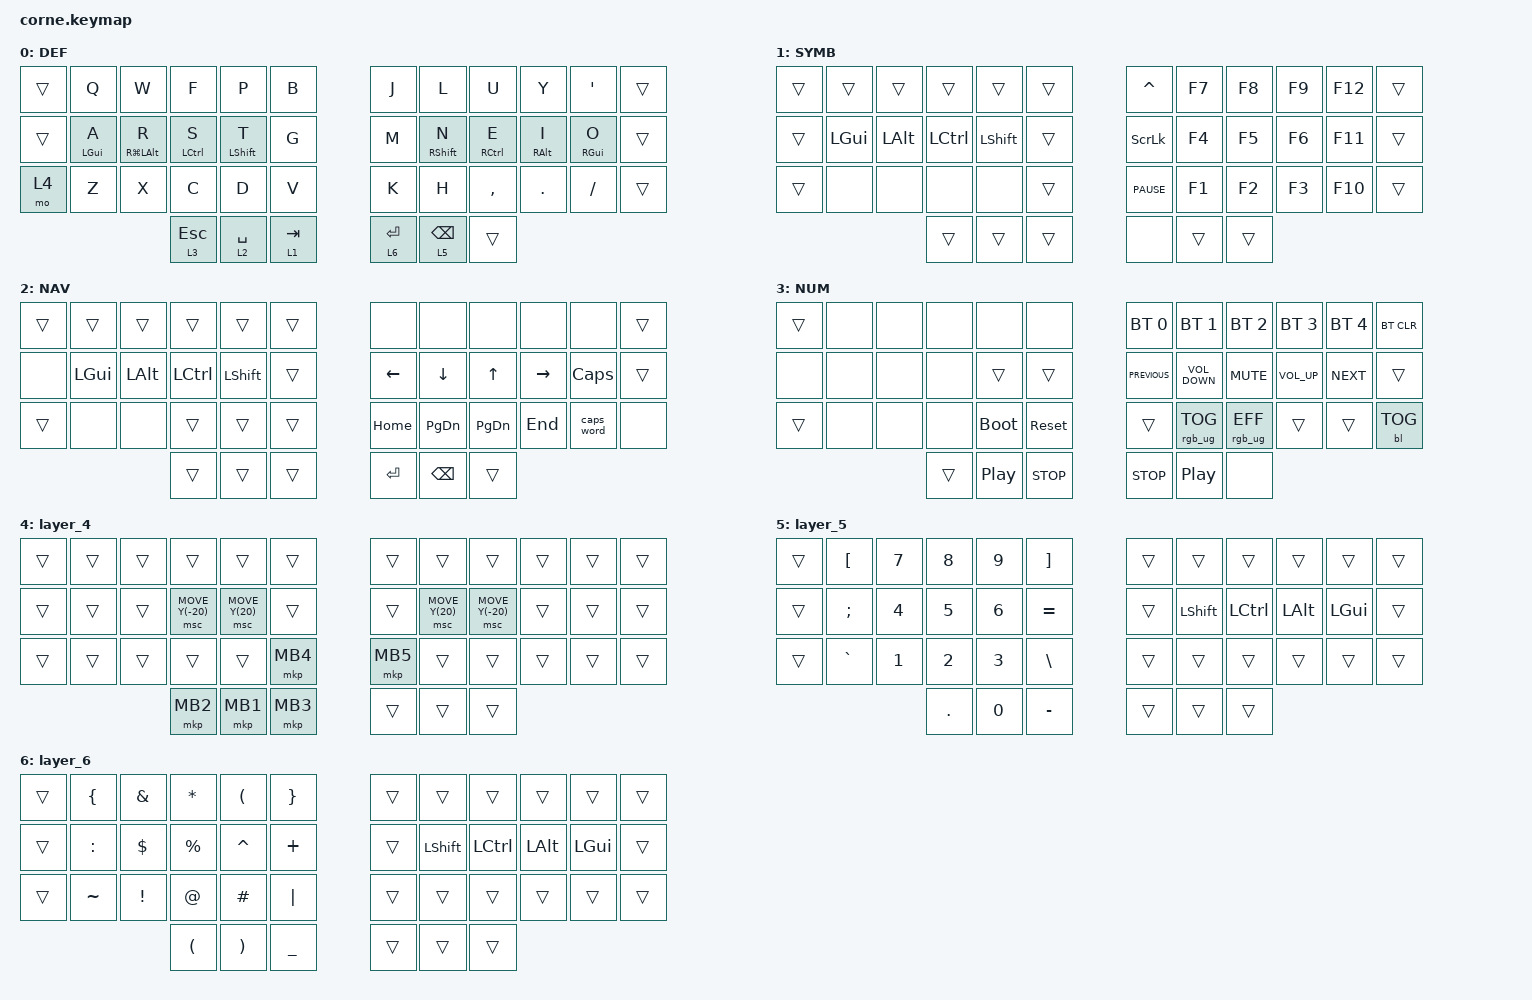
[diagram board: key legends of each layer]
/*
 * Copyright (c) 2020 The ZMK Contributors
 *
 * SPDX-License-Identifier: MIT
 */

#include <behaviors.dtsi>
#include <dt-bindings/zmk/backlight.h>
#include <dt-bindings/zmk/bt.h>
#include <dt-bindings/zmk/keys.h>
#include <dt-bindings/zmk/pointing.h>
#include <dt-bindings/zmk/rgb.h>

#define DEFAULT_L 0
#define SYMBOLS_L 1
#define ARROWS_L  2
#define NUMBERS_L 3

// &led_strip {
// chain-length = <27>;
  // 21 backlight + 6 glowlight
//};

/ {
    bl_leds: leds { status = "okay"; };
    chosen {
        zmk,backlight = &bl_leds;
    };

    behaviors {
        hm: homerow_mods {
            compatible = "zmk,behavior-hold-tap";
            label = "HOMEROW_MODS";
            #binding-cells = <2>;
            tapping-term-ms = <300>;
            quick-tap-ms = <200>;
            flavor = "tap-preferred";
            bindings = <&kp>, <&kp>;
        };
    };

    keymap {
        compatible = "zmk,keymap";

        default_layer {
            label = "DEF";
            bindings = <
&trans  &kp Q           &kp W               &kp F               &kp P             &kp B        &kp J        &kp L              &kp U                &kp Y            &kp SQT          &trans
&trans  &hm LEFT_GUI A  &hm RG(LEFT_ALT) R  &hm LEFT_CONTROL S  &hm LEFT_SHIFT T  &kp G        &kp M        &hm RIGHT_SHIFT N  &hm RIGHT_CONTROL E  &hm RIGHT_ALT I  &hm RIGHT_GUI O  &trans
&mo 4   &kp Z           &kp X               &kp C               &kp D             &kp V        &kp K        &kp H              &kp COMMA            &kp DOT          &kp SLASH        &trans
                                            &lt 3 ESCAPE        &lt 2 SPACE       &lt 1 TAB    &lt 6 ENTER  &lt 5 BACKSPACE    &trans
            >;
        };

        symbols_layer {
            label = "SYMB";
            bindings = <
&trans  &trans        &trans        &trans            &trans      &trans    &kp CARET    &kp F7  &kp F8  &kp F9  &kp F12  &trans
&trans  &kp LEFT_GUI  &kp LEFT_ALT  &kp LEFT_CONTROL  &kp LSHIFT  &trans    &kp SLCK     &kp F4  &kp F5  &kp F6  &kp F11  &trans
&trans  &none         &none         &none             &none       &trans    &kp C_PAUSE  &kp F1  &kp F2  &kp F3  &kp F10  &trans
                                    &trans            &trans      &trans    &none        &trans  &trans
            >;
        };

        arrows_layer {
            label = "NAV";
            bindings = <
&trans  &trans    &trans    &trans     &trans     &trans    &none      &none          &none          &none      &none       &trans
&none   &kp LGUI  &kp LALT  &kp LCTRL  &kp LSHFT  &trans    &kp LEFT   &kp DOWN       &kp UP         &kp RIGHT  &kp CAPS    &trans
&trans  &none     &none     &trans     &trans     &trans    &kp HOME   &kp PAGE_DOWN  &kp PAGE_DOWN  &kp END    &caps_word  &none
                            &trans     &trans     &trans    &kp ENTER  &kp BACKSPACE  &trans
            >;
        };

        numbers_layer {
            label = "NUM";
            bindings = <
&trans  &none  &none  &none   &none        &none         &bt BT_SEL 0    &bt BT_SEL 1       &bt BT_SEL 2     &bt BT_SEL 3     &bt BT_SEL 4  &bt BT_CLR
&none   &none  &none  &none   &trans       &trans        &kp C_PREVIOUS  &kp C_VOLUME_DOWN  &kp C_MUTE       &kp C_VOLUME_UP  &kp C_NEXT    &trans
&trans  &none  &none  &none   &bootloader  &sys_reset    &trans          &rgb_ug RGB_TOG    &rgb_ug RGB_EFF  &trans           &trans        &bl BL_TOG
                      &trans  &kp C_PP     &kp C_STOP    &kp C_STOP      &kp C_PP           &none
            >;
        };

        layer_4 {
            bindings = <
&trans  &trans  &trans  &trans            &trans           &trans      &trans    &trans           &trans            &trans  &trans  &trans
&trans  &trans  &trans  &msc MOVE_Y(-20)  &msc MOVE_Y(20)  &trans      &trans    &msc MOVE_Y(20)  &msc MOVE_Y(-20)  &trans  &trans  &trans
&trans  &trans  &trans  &trans            &trans           &mkp MB4    &mkp MB5  &trans           &trans            &trans  &trans  &trans
                        &mkp MB2          &mkp MB1         &mkp MB3    &trans    &trans           &trans
            >;
        };

        layer_5 {
            bindings = <
&trans  &kp LBKT   &kp N7  &kp N8   &kp N9  &kp RBKT     &trans  &trans     &trans     &trans    &trans    &trans
&trans  &kp SEMI   &kp N4  &kp N5   &kp N6  &kp EQUAL    &trans  &kp LSHFT  &kp LCTRL  &kp LALT  &kp LGUI  &trans
&trans  &kp GRAVE  &kp N1  &kp N2   &kp N3  &kp BSLH     &trans  &trans     &trans     &trans    &trans    &trans
                           &kp DOT  &kp N0  &kp MINUS    &trans  &trans     &trans
            >;
        };

        layer_6 {
            bindings = <
&trans  &kp LEFT_BRACE  &kp AMPERSAND    &kp ASTERISK          &kp LEFT_PARENTHESIS   &kp RIGHT_BRACE    &trans  &trans     &trans     &trans    &trans    &trans
&trans  &kp COLON       &kp DOLLAR       &kp PERCENT           &kp CARET              &kp PLUS           &trans  &kp LSHFT  &kp LCTRL  &kp LALT  &kp LGUI  &trans
&trans  &kp TILDE       &kp EXCLAMATION  &kp AT_SIGN           &kp HASH               &kp PIPE           &trans  &trans     &trans     &trans    &trans    &trans
                                         &kp LEFT_PARENTHESIS  &kp RIGHT_PARENTHESIS  &kp UNDERSCORE     &trans  &trans     &trans
            >;
        };
    };
};
